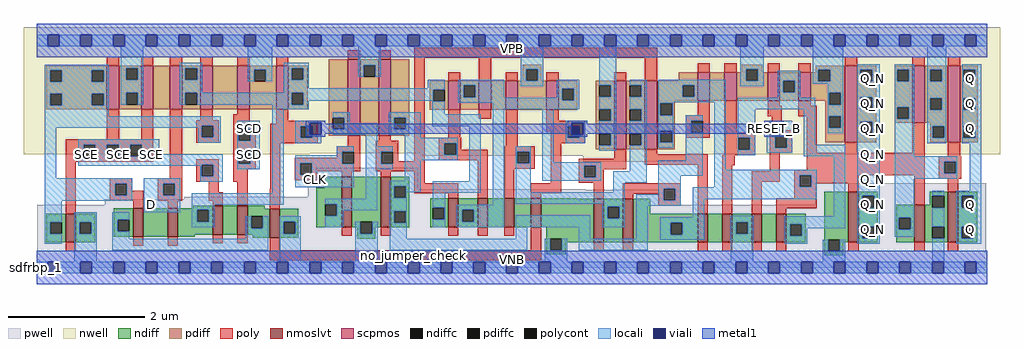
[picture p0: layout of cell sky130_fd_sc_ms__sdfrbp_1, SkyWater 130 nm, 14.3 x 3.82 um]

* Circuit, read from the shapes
.subckt sky130_fd_sc_ms__sdfrbp_1 CLK D RESET_B SCD SCE VGND VNB VPB VPWR Q Q_N
XM1 VGND SCE n1 VNB sky130_fd_pr__nfet_01v8_lvt w=0.42 l=0.15
XM2 n2 n1 n3 VNB sky130_fd_pr__nfet_01v8_lvt w=0.42 l=0.15
XM3 n4 D n2 VNB sky130_fd_pr__nfet_01v8_lvt w=0.42 l=0.15
XM4 n5 SCE n4 VNB sky130_fd_pr__nfet_01v8_lvt w=0.42 l=0.15
XM5 n3 SCD n5 VNB sky130_fd_pr__nfet_01v8_lvt w=0.42 l=0.15
XM6 VGND RESET_B n3 VNB sky130_fd_pr__nfet_01v8_lvt w=0.42 l=0.15
XM7 VGND CLK n6 VNB sky130_fd_pr__nfet_01v8_lvt w=0.74 l=0.15
XM8 n7 n6 VGND VNB sky130_fd_pr__nfet_01v8_lvt w=0.74 l=0.15
XM9 n8 n6 n4 VNB sky130_fd_pr__nfet_01v8_lvt w=0.42 l=0.15
XM10 n9 n7 n8 VNB sky130_fd_pr__nfet_01v8_lvt w=0.42 l=0.15
XM11 n10 n11 n9 VNB sky130_fd_pr__nfet_01v8_lvt w=0.42 l=0.15
XM12 VGND RESET_B n10 VNB sky130_fd_pr__nfet_01v8_lvt w=0.42 l=0.15
XM13 n11 n8 VGND VNB sky130_fd_pr__nfet_01v8_lvt w=0.64 l=0.15
XM14 n12 n7 n11 VNB sky130_fd_pr__nfet_01v8_lvt w=0.64 l=0.15
XM15 n13 n6 n12 VNB sky130_fd_pr__nfet_01v8_lvt w=0.42 l=0.15
XM16 VGND n14 n13 VNB sky130_fd_pr__nfet_01v8_lvt w=0.42 l=0.15
XM17 n15 RESET_B VGND VNB sky130_fd_pr__nfet_01v8_lvt w=0.42 l=0.15
XM18 n14 n12 n15 VNB sky130_fd_pr__nfet_01v8_lvt w=0.42 l=0.15
XM19 Q_N n12 VGND VNB sky130_fd_pr__nfet_01v8_lvt w=0.74 l=0.15
XM20 VGND n12 n16 VNB sky130_fd_pr__nfet_01v8_lvt w=0.55 l=0.15
XM21 Q n16 VGND VNB sky130_fd_pr__nfet_01v8_lvt w=0.74 l=0.15
XM22 VPWR SCE n1 VPB sky130_fd_pr__pfet_01v8 w=0.64 l=0.18
XM23 n17 SCE VPWR VPB sky130_fd_pr__pfet_01v8 w=0.64 l=0.18
XM24 n4 D n17 VPB sky130_fd_pr__pfet_01v8 w=0.64 l=0.18
XM25 n18 n1 n4 VPB sky130_fd_pr__pfet_01v8 w=0.64 l=0.18
XM26 VPWR SCD n18 VPB sky130_fd_pr__pfet_01v8 w=0.64 l=0.18
XM27 n4 RESET_B VPWR VPB sky130_fd_pr__pfet_01v8 w=0.64 l=0.18
XM28 VPWR CLK n6 VPB sky130_fd_pr__pfet_01v8 w=1.12 l=0.18
XM29 n7 n6 VPWR VPB sky130_fd_pr__pfet_01v8 w=1.12 l=0.18
XM30 n8 n7 n4 VPB sky130_fd_pr__pfet_01v8 w=0.42 l=0.18
XM31 n19 n6 n8 VPB sky130_fd_pr__pfet_01v8 w=0.42 l=0.18
XM32 VPWR n11 n19 VPB sky130_fd_pr__pfet_01v8 w=0.42 l=0.18
XM33 n8 RESET_B VPWR VPB sky130_fd_pr__pfet_01v8 w=0.42 l=0.18
XM34 n11 n8 VPWR VPB sky130_fd_pr__pfet_01v8 w=1 l=0.18
XM35 n12 n6 n11 VPB sky130_fd_pr__pfet_01v8 w=1 l=0.18
XM36 n20 n7 n12 VPB sky130_fd_pr__pfet_01v8 w=0.42 l=0.18
XM37 VPWR n14 n20 VPB sky130_fd_pr__pfet_01v8 w=0.42 l=0.18
XM38 n14 RESET_B VPWR VPB sky130_fd_pr__pfet_01v8 w=0.42 l=0.18
XM39 VPWR n12 n14 VPB sky130_fd_pr__pfet_01v8 w=0.42 l=0.18
XM40 Q_N n12 VPWR VPB sky130_fd_pr__pfet_01v8 w=1.12 l=0.18
XM41 VPWR n12 n16 VPB sky130_fd_pr__pfet_01v8 w=0.84 l=0.18
XM42 Q n16 VPWR VPB sky130_fd_pr__pfet_01v8 w=1.12 l=0.18
.ends

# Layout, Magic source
magic
tech sky130A
magscale 1 2
<< nwell >>
rect -38 335 2822 704
rect -38 332 800 335
rect 1129 332 2822 335
rect 1129 328 1903 332
rect 1601 311 1903 328
<< pwell >>
rect 817 260 1117 293
rect 793 229 1117 260
rect 793 228 1607 229
rect 793 207 1823 228
rect 432 200 1823 207
rect 199 184 1823 200
rect 2281 184 2782 248
rect 1 49 2782 184
rect 0 0 2784 49
<< scpmos >>
rect 205 464 241 592
rect 305 464 341 592
rect 389 464 425 592
rect 479 464 515 592
rect 587 464 623 592
rect 701 464 737 592
rect 911 387 947 611
rect 1001 387 1037 611
rect 1205 463 1241 547
rect 1295 463 1331 547
rect 1373 463 1409 547
rect 1493 463 1529 547
rect 1691 347 1727 547
rect 1781 347 1817 547
rect 1936 489 1972 573
rect 2014 489 2050 573
rect 2141 489 2177 573
rect 2231 489 2267 573
rect 2367 368 2403 592
rect 2565 424 2601 592
rect 2669 368 2705 592
<< nmoslvt >>
rect 84 74 114 158
rect 282 90 312 174
rect 383 90 413 174
rect 515 97 545 181
rect 587 97 617 181
rect 682 88 712 172
rect 893 119 923 267
rect 1007 119 1037 267
rect 1205 119 1235 203
rect 1291 119 1321 203
rect 1369 119 1399 203
rect 1447 119 1477 203
rect 1631 74 1661 202
rect 1717 74 1747 202
rect 1936 74 1966 158
rect 2008 74 2038 158
rect 2094 74 2124 158
rect 2166 74 2196 158
rect 2378 74 2408 222
rect 2571 74 2601 184
rect 2669 74 2699 222
<< ndiff >>
rect 843 234 893 267
rect 458 174 515 181
rect 27 133 84 158
rect 27 99 39 133
rect 73 99 84 133
rect 27 74 84 99
rect 114 133 171 158
rect 114 99 125 133
rect 159 99 171 133
rect 114 74 171 99
rect 225 141 282 174
rect 225 107 237 141
rect 271 107 282 141
rect 225 90 282 107
rect 312 90 383 174
rect 413 169 515 174
rect 413 135 470 169
rect 504 135 515 169
rect 413 97 515 135
rect 545 97 587 181
rect 617 172 667 181
rect 819 186 893 234
rect 617 150 682 172
rect 617 116 628 150
rect 662 116 682 150
rect 617 97 682 116
rect 413 90 463 97
rect 632 88 682 97
rect 712 134 765 172
rect 712 100 723 134
rect 757 100 765 134
rect 819 152 845 186
rect 879 152 893 186
rect 819 119 893 152
rect 923 134 1007 267
rect 923 119 948 134
rect 712 88 765 100
rect 938 100 948 119
rect 982 119 1007 134
rect 1037 239 1091 267
rect 1037 205 1047 239
rect 1081 205 1091 239
rect 1037 165 1091 205
rect 1037 131 1047 165
rect 1081 131 1091 165
rect 1037 119 1091 131
rect 1152 176 1205 203
rect 1152 142 1160 176
rect 1194 142 1205 176
rect 1152 119 1205 142
rect 1235 169 1291 203
rect 1235 135 1246 169
rect 1280 135 1291 169
rect 1235 119 1291 135
rect 1321 119 1369 203
rect 1399 119 1447 203
rect 1477 202 1581 203
rect 1477 119 1631 202
rect 982 100 992 119
rect 938 84 992 100
rect 1492 85 1631 119
rect 1492 51 1504 85
rect 1538 74 1631 85
rect 1661 179 1717 202
rect 1661 145 1672 179
rect 1706 145 1717 179
rect 1661 74 1717 145
rect 1747 158 1797 202
rect 1747 131 1936 158
rect 1747 97 1857 131
rect 1891 97 1936 131
rect 1747 74 1936 97
rect 1966 74 2008 158
rect 2038 133 2094 158
rect 2038 99 2049 133
rect 2083 99 2094 133
rect 2038 74 2094 99
rect 2124 74 2166 158
rect 2196 127 2253 158
rect 2196 93 2207 127
rect 2241 93 2253 127
rect 2196 74 2253 93
rect 2307 82 2378 222
rect 1538 51 1550 74
rect 1492 39 1550 51
rect 2307 48 2318 82
rect 2352 74 2378 82
rect 2408 210 2464 222
rect 2408 176 2419 210
rect 2453 176 2464 210
rect 2616 210 2669 222
rect 2616 184 2624 210
rect 2408 120 2464 176
rect 2408 86 2419 120
rect 2453 86 2464 120
rect 2408 74 2464 86
rect 2518 146 2571 184
rect 2518 112 2526 146
rect 2560 112 2571 146
rect 2518 74 2571 112
rect 2601 176 2624 184
rect 2658 176 2669 210
rect 2601 120 2669 176
rect 2601 86 2624 120
rect 2658 86 2669 120
rect 2601 74 2669 86
rect 2699 210 2756 222
rect 2699 176 2710 210
rect 2744 176 2756 210
rect 2699 120 2756 176
rect 2699 86 2710 120
rect 2744 86 2756 120
rect 2699 74 2756 86
rect 2352 48 2363 74
rect 2307 36 2363 48
<< pdiff >>
rect 27 579 205 592
rect 27 545 39 579
rect 73 545 161 579
rect 195 545 205 579
rect 27 510 205 545
rect 27 476 39 510
rect 73 476 161 510
rect 195 476 205 510
rect 27 464 205 476
rect 241 584 305 592
rect 241 550 261 584
rect 295 550 305 584
rect 241 512 305 550
rect 241 478 261 512
rect 295 478 305 512
rect 241 464 305 478
rect 341 464 389 592
rect 425 584 479 592
rect 425 550 435 584
rect 469 550 479 584
rect 425 512 479 550
rect 425 478 435 512
rect 469 478 479 512
rect 425 464 479 478
rect 515 464 587 592
rect 623 580 701 592
rect 623 546 636 580
rect 670 546 701 580
rect 623 464 701 546
rect 737 584 793 592
rect 737 550 747 584
rect 781 550 793 584
rect 737 512 793 550
rect 737 478 747 512
rect 781 478 793 512
rect 737 464 793 478
rect 855 439 911 611
rect 855 405 867 439
rect 901 405 911 439
rect 855 387 911 405
rect 947 593 1001 611
rect 947 559 957 593
rect 991 559 1001 593
rect 947 387 1001 559
rect 1037 439 1091 611
rect 1037 405 1047 439
rect 1081 405 1091 439
rect 1037 387 1091 405
rect 1424 582 1478 594
rect 1424 548 1434 582
rect 1468 548 1478 582
rect 1424 547 1478 548
rect 2065 582 2126 594
rect 2065 573 2078 582
rect 1880 547 1936 573
rect 1151 522 1205 547
rect 1151 488 1161 522
rect 1195 488 1205 522
rect 1151 463 1205 488
rect 1241 534 1295 547
rect 1241 500 1251 534
rect 1285 500 1295 534
rect 1241 463 1295 500
rect 1331 463 1373 547
rect 1409 463 1493 547
rect 1529 524 1583 547
rect 1529 490 1539 524
rect 1573 490 1583 524
rect 1529 463 1583 490
rect 1637 535 1691 547
rect 1637 501 1647 535
rect 1681 501 1691 535
rect 1637 464 1691 501
rect 1637 430 1647 464
rect 1681 430 1691 464
rect 1637 393 1691 430
rect 1637 359 1647 393
rect 1681 359 1691 393
rect 1637 347 1691 359
rect 1727 535 1781 547
rect 1727 501 1737 535
rect 1771 501 1781 535
rect 1727 464 1781 501
rect 1727 430 1737 464
rect 1771 430 1781 464
rect 1727 393 1781 430
rect 1727 359 1737 393
rect 1771 359 1781 393
rect 1727 347 1781 359
rect 1817 535 1936 547
rect 1817 501 1892 535
rect 1926 501 1936 535
rect 1817 489 1936 501
rect 1972 489 2014 573
rect 2050 548 2078 573
rect 2112 573 2126 582
rect 2282 580 2367 592
rect 2282 573 2290 580
rect 2112 548 2141 573
rect 2050 489 2141 548
rect 2177 548 2231 573
rect 2177 514 2187 548
rect 2221 514 2231 548
rect 2177 489 2231 514
rect 2267 546 2290 573
rect 2324 546 2367 580
rect 2267 512 2367 546
rect 2267 489 2322 512
rect 1817 481 1869 489
rect 1817 447 1827 481
rect 1861 447 1869 481
rect 1817 401 1869 447
rect 1817 367 1827 401
rect 1861 367 1869 401
rect 2310 478 2322 489
rect 2356 478 2367 512
rect 1817 347 1869 367
rect 2310 444 2367 478
rect 2310 410 2322 444
rect 2356 410 2367 444
rect 2310 368 2367 410
rect 2403 580 2459 592
rect 2403 546 2413 580
rect 2447 546 2459 580
rect 2403 500 2459 546
rect 2403 466 2413 500
rect 2447 466 2459 500
rect 2403 428 2459 466
rect 2403 394 2413 428
rect 2447 394 2459 428
rect 2513 580 2565 592
rect 2513 546 2521 580
rect 2555 546 2565 580
rect 2513 470 2565 546
rect 2513 436 2521 470
rect 2555 436 2565 470
rect 2513 424 2565 436
rect 2601 580 2669 592
rect 2601 546 2618 580
rect 2652 546 2669 580
rect 2601 497 2669 546
rect 2601 463 2618 497
rect 2652 463 2669 497
rect 2601 424 2669 463
rect 2403 368 2459 394
rect 2617 414 2669 424
rect 2617 380 2625 414
rect 2659 380 2669 414
rect 2617 368 2669 380
rect 2705 580 2757 592
rect 2705 546 2715 580
rect 2749 546 2757 580
rect 2705 497 2757 546
rect 2705 463 2715 497
rect 2749 463 2757 497
rect 2705 414 2757 463
rect 2705 380 2715 414
rect 2749 380 2757 414
rect 2705 368 2757 380
<< ndiffc >>
rect 39 99 73 133
rect 125 99 159 133
rect 237 107 271 141
rect 470 135 504 169
rect 628 116 662 150
rect 723 100 757 134
rect 845 152 879 186
rect 948 100 982 134
rect 1047 205 1081 239
rect 1047 131 1081 165
rect 1160 142 1194 176
rect 1246 135 1280 169
rect 1504 51 1538 85
rect 1672 145 1706 179
rect 1857 97 1891 131
rect 2049 99 2083 133
rect 2207 93 2241 127
rect 2318 48 2352 82
rect 2419 176 2453 210
rect 2419 86 2453 120
rect 2526 112 2560 146
rect 2624 176 2658 210
rect 2624 86 2658 120
rect 2710 176 2744 210
rect 2710 86 2744 120
<< pdiffc >>
rect 39 545 73 579
rect 161 545 195 579
rect 39 476 73 510
rect 161 476 195 510
rect 261 550 295 584
rect 261 478 295 512
rect 435 550 469 584
rect 435 478 469 512
rect 636 546 670 580
rect 747 550 781 584
rect 747 478 781 512
rect 867 405 901 439
rect 957 559 991 593
rect 1047 405 1081 439
rect 1434 548 1468 582
rect 1161 488 1195 522
rect 1251 500 1285 534
rect 1539 490 1573 524
rect 1647 501 1681 535
rect 1647 430 1681 464
rect 1647 359 1681 393
rect 1737 501 1771 535
rect 1737 430 1771 464
rect 1737 359 1771 393
rect 1892 501 1926 535
rect 2078 548 2112 582
rect 2187 514 2221 548
rect 2290 546 2324 580
rect 1827 447 1861 481
rect 1827 367 1861 401
rect 2322 478 2356 512
rect 2322 410 2356 444
rect 2413 546 2447 580
rect 2413 466 2447 500
rect 2413 394 2447 428
rect 2521 546 2555 580
rect 2521 436 2555 470
rect 2618 546 2652 580
rect 2618 463 2652 497
rect 2625 380 2659 414
rect 2715 546 2749 580
rect 2715 463 2749 497
rect 2715 380 2749 414
<< poly >>
rect 205 592 241 618
rect 305 592 341 618
rect 389 592 425 618
rect 479 592 515 618
rect 587 592 623 618
rect 701 592 737 618
rect 911 611 947 637
rect 1001 611 1037 637
rect 1106 615 1817 645
rect 205 376 241 464
rect 305 376 341 464
rect 84 360 341 376
rect 84 326 137 360
rect 171 326 205 360
rect 239 326 273 360
rect 307 326 341 360
rect 84 310 341 326
rect 84 158 114 310
rect 389 262 425 464
rect 479 432 515 464
rect 587 449 623 464
rect 467 416 533 432
rect 467 382 483 416
rect 517 382 533 416
rect 467 366 533 382
rect 575 422 623 449
rect 701 430 737 464
rect 701 422 823 430
rect 575 406 641 422
rect 575 372 591 406
rect 625 372 641 406
rect 575 338 641 372
rect 213 246 279 262
rect 213 212 229 246
rect 263 226 279 246
rect 354 246 425 262
rect 467 302 533 318
rect 467 268 483 302
rect 517 268 533 302
rect 467 252 533 268
rect 263 212 312 226
rect 213 196 312 212
rect 354 212 370 246
rect 404 212 425 246
rect 354 196 425 212
rect 503 221 533 252
rect 575 304 591 338
rect 625 304 641 338
rect 575 288 641 304
rect 683 414 823 422
rect 683 380 773 414
rect 807 380 823 414
rect 683 364 823 380
rect 575 251 617 288
rect 503 196 545 221
rect 282 174 312 196
rect 383 174 413 196
rect 515 181 545 196
rect 587 181 617 251
rect 683 229 713 364
rect 911 355 947 387
rect 1001 372 1037 387
rect 879 339 947 355
rect 879 322 895 339
rect 755 306 895 322
rect 755 272 771 306
rect 805 305 895 306
rect 929 305 947 339
rect 805 282 947 305
rect 993 339 1059 372
rect 993 305 1009 339
rect 1043 312 1059 339
rect 1106 312 1136 615
rect 1205 547 1241 573
rect 1295 547 1331 615
rect 1373 547 1409 573
rect 1493 547 1529 573
rect 1691 547 1727 573
rect 1781 547 1817 615
rect 1936 573 1972 599
rect 2014 573 2050 599
rect 1205 381 1241 463
rect 1295 437 1331 463
rect 1178 365 1244 381
rect 1178 331 1194 365
rect 1228 345 1244 365
rect 1373 356 1409 463
rect 1493 430 1529 463
rect 1493 414 1605 430
rect 1493 400 1555 414
rect 1506 380 1555 400
rect 1589 380 1605 414
rect 1506 364 1605 380
rect 1228 331 1321 345
rect 1178 315 1321 331
rect 1043 305 1136 312
rect 993 282 1136 305
rect 805 272 821 282
rect 755 256 821 272
rect 893 267 923 282
rect 1007 267 1037 282
rect 682 187 713 229
rect 682 172 712 187
rect 84 48 114 74
rect 282 64 312 90
rect 383 64 413 90
rect 515 71 545 97
rect 587 71 617 97
rect 893 93 923 119
rect 1106 248 1136 282
rect 1106 218 1235 248
rect 1205 203 1235 218
rect 1291 203 1321 315
rect 1369 340 1458 356
rect 1369 306 1408 340
rect 1442 306 1458 340
rect 1369 290 1458 306
rect 1369 203 1399 290
rect 1506 248 1536 364
rect 2141 573 2177 599
rect 2231 573 2267 599
rect 2367 592 2403 618
rect 2565 592 2601 618
rect 2669 592 2705 618
rect 1936 446 1972 489
rect 1901 430 1972 446
rect 1901 396 1917 430
rect 1951 396 1972 430
rect 1901 380 1972 396
rect 2014 396 2050 489
rect 2141 474 2177 489
rect 2231 474 2267 489
rect 2141 444 2183 474
rect 2231 444 2285 474
rect 2153 402 2183 444
rect 2014 380 2105 396
rect 1691 319 1727 347
rect 1588 299 1727 319
rect 1781 332 1817 347
rect 2014 346 2055 380
rect 2089 346 2105 380
rect 1781 302 1966 332
rect 2014 330 2105 346
rect 2147 386 2213 402
rect 2147 352 2163 386
rect 2197 352 2213 386
rect 2147 336 2213 352
rect 2255 337 2285 444
rect 2367 337 2403 368
rect 2565 337 2601 424
rect 1588 265 1604 299
rect 1638 289 1727 299
rect 1638 265 1661 289
rect 1588 249 1661 265
rect 1447 218 1536 248
rect 1447 203 1477 218
rect 1631 202 1661 249
rect 1717 231 1887 247
rect 1717 217 1837 231
rect 1717 202 1747 217
rect 682 51 712 88
rect 1007 93 1037 119
rect 1205 93 1235 119
rect 1291 93 1321 119
rect 1369 93 1399 119
rect 1447 51 1477 119
rect 682 21 1477 51
rect 1821 197 1837 217
rect 1871 197 1887 231
rect 1821 181 1887 197
rect 1936 158 1966 302
rect 2008 300 2044 330
rect 2008 158 2038 300
rect 2147 282 2177 336
rect 2255 287 2601 337
rect 2669 326 2705 368
rect 2094 252 2177 282
rect 2219 271 2601 287
rect 2094 158 2124 252
rect 2219 237 2235 271
rect 2269 247 2408 271
rect 2269 237 2285 247
rect 2219 204 2285 237
rect 2378 222 2408 247
rect 2166 174 2285 204
rect 2166 158 2196 174
rect 1631 48 1661 74
rect 1717 48 1747 74
rect 1936 48 1966 74
rect 2008 48 2038 74
rect 2094 48 2124 74
rect 2166 48 2196 74
rect 2571 184 2601 271
rect 2643 310 2709 326
rect 2643 276 2659 310
rect 2693 276 2709 310
rect 2643 260 2709 276
rect 2669 222 2699 260
rect 2378 48 2408 74
rect 2571 48 2601 74
rect 2669 48 2699 74
<< polycont >>
rect 137 326 171 360
rect 205 326 239 360
rect 273 326 307 360
rect 483 382 517 416
rect 591 372 625 406
rect 229 212 263 246
rect 483 268 517 302
rect 370 212 404 246
rect 591 304 625 338
rect 773 380 807 414
rect 771 272 805 306
rect 895 305 929 339
rect 1009 305 1043 339
rect 1194 331 1228 365
rect 1555 380 1589 414
rect 1408 306 1442 340
rect 1917 396 1951 430
rect 2055 346 2089 380
rect 2163 352 2197 386
rect 1604 265 1638 299
rect 1837 197 1871 231
rect 2235 237 2269 271
rect 2659 276 2693 310
<< locali >>
rect 0 649 31 683
rect 65 649 127 683
rect 161 649 223 683
rect 257 649 319 683
rect 353 649 415 683
rect 449 649 511 683
rect 545 649 607 683
rect 641 649 703 683
rect 737 649 799 683
rect 833 649 895 683
rect 929 649 991 683
rect 1025 649 1087 683
rect 1121 649 1183 683
rect 1217 649 1279 683
rect 1313 649 1375 683
rect 1409 649 1471 683
rect 1505 649 1567 683
rect 1601 649 1663 683
rect 1697 649 1759 683
rect 1793 649 1855 683
rect 1889 649 1951 683
rect 1985 649 2047 683
rect 2081 649 2143 683
rect 2177 649 2239 683
rect 2273 649 2335 683
rect 2369 649 2431 683
rect 2465 649 2527 683
rect 2561 649 2623 683
rect 2657 649 2719 683
rect 2753 649 2784 683
rect 23 579 211 595
rect 23 545 39 579
rect 73 545 161 579
rect 195 545 211 579
rect 23 510 211 545
rect 23 476 39 510
rect 73 476 161 510
rect 195 476 211 510
rect 245 584 311 649
rect 245 550 261 584
rect 295 550 311 584
rect 245 512 311 550
rect 245 478 261 512
rect 295 478 311 512
rect 419 584 485 600
rect 419 550 435 584
rect 469 550 485 584
rect 419 512 485 550
rect 617 580 689 649
rect 617 546 636 580
rect 670 546 689 580
rect 723 584 797 600
rect 723 550 747 584
rect 781 550 797 584
rect 941 593 1007 649
rect 941 559 957 593
rect 991 559 1007 593
rect 1418 582 1484 649
rect 723 525 797 550
rect 1145 525 1195 551
rect 723 522 1195 525
rect 723 512 1161 522
rect 419 478 435 512
rect 469 478 747 512
rect 781 489 1161 512
rect 781 478 797 489
rect 23 444 211 476
rect 689 464 797 478
rect 1158 488 1161 489
rect 23 416 539 444
rect 23 410 483 416
rect 23 262 57 410
rect 473 382 483 410
rect 517 382 539 416
rect 121 360 359 376
rect 473 366 539 382
rect 587 406 653 430
rect 587 372 591 406
rect 625 372 653 406
rect 121 326 137 360
rect 171 326 205 360
rect 239 326 273 360
rect 307 332 359 360
rect 587 338 653 372
rect 307 326 545 332
rect 121 302 545 326
rect 121 298 483 302
rect 479 268 483 298
rect 517 268 545 302
rect 587 304 591 338
rect 625 304 653 338
rect 587 288 653 304
rect 23 246 279 262
rect 23 212 229 246
rect 263 212 279 246
rect 23 196 279 212
rect 313 246 420 262
rect 479 252 545 268
rect 313 212 370 246
rect 404 212 420 246
rect 689 218 723 464
rect 867 439 917 455
rect 757 424 833 430
rect 757 414 799 424
rect 757 380 773 414
rect 807 380 833 390
rect 901 423 917 439
rect 1031 439 1124 455
rect 901 405 997 423
rect 867 389 997 405
rect 1031 405 1047 439
rect 1081 405 1124 439
rect 1158 449 1195 488
rect 1235 534 1369 551
rect 1235 500 1251 534
rect 1285 500 1369 534
rect 1418 548 1434 582
rect 1468 548 1484 582
rect 1418 532 1484 548
rect 1235 498 1369 500
rect 1523 524 1589 551
rect 1523 498 1539 524
rect 1235 490 1539 498
rect 1573 490 1589 524
rect 1235 483 1589 490
rect 1335 464 1589 483
rect 1647 535 1697 649
rect 2061 582 2130 649
rect 1681 501 1697 535
rect 1647 464 1697 501
rect 1158 415 1301 449
rect 1031 389 1124 405
rect 757 364 833 380
rect 963 355 997 389
rect 1077 381 1124 389
rect 1077 365 1233 381
rect 879 339 929 355
rect 879 330 895 339
rect 757 306 895 330
rect 757 272 771 306
rect 805 305 895 306
rect 805 272 929 305
rect 757 236 929 272
rect 963 339 1043 355
rect 963 305 1009 339
rect 963 289 1043 305
rect 1077 331 1194 365
rect 1228 331 1233 365
rect 1077 315 1233 331
rect 23 133 73 196
rect 313 162 420 212
rect 454 184 723 218
rect 963 202 997 289
rect 1077 255 1124 315
rect 845 186 997 202
rect 454 169 520 184
rect 23 99 39 133
rect 23 70 73 99
rect 109 133 175 162
rect 109 99 125 133
rect 159 99 175 133
rect 109 17 175 99
rect 221 141 271 162
rect 221 107 237 141
rect 454 135 470 169
rect 504 135 520 169
rect 879 168 997 186
rect 1034 239 1124 255
rect 1267 253 1301 415
rect 1034 205 1047 239
rect 1081 221 1124 239
rect 1081 205 1084 221
rect 879 152 898 168
rect 454 119 520 135
rect 221 85 271 107
rect 612 116 628 150
rect 662 116 678 150
rect 612 85 678 116
rect 221 51 678 85
rect 712 134 773 150
rect 712 100 723 134
rect 757 100 773 134
rect 845 119 898 152
rect 1034 165 1084 205
rect 712 17 773 100
rect 932 100 948 134
rect 982 100 998 134
rect 932 17 998 100
rect 1034 131 1047 165
rect 1081 131 1084 165
rect 1034 85 1084 131
rect 1160 219 1301 253
rect 1160 176 1196 219
rect 1335 185 1369 464
rect 1403 340 1447 356
rect 1403 306 1408 340
rect 1442 306 1447 340
rect 1403 221 1447 306
rect 1481 309 1515 464
rect 1681 430 1697 464
rect 1549 424 1607 430
rect 1549 414 1567 424
rect 1549 380 1555 414
rect 1601 390 1607 424
rect 1589 380 1607 390
rect 1549 364 1607 380
rect 1647 393 1697 430
rect 1681 359 1697 393
rect 1647 343 1697 359
rect 1737 535 1787 551
rect 1771 501 1787 535
rect 1737 464 1787 501
rect 1771 430 1787 464
rect 1737 393 1787 430
rect 1771 359 1787 393
rect 1481 299 1654 309
rect 1481 265 1604 299
rect 1638 265 1654 299
rect 1737 283 1787 359
rect 1821 535 2019 551
rect 1821 501 1892 535
rect 1926 501 2019 535
rect 2061 548 2078 582
rect 2112 548 2130 582
rect 2274 580 2363 649
rect 2061 532 2130 548
rect 2171 548 2237 577
rect 1821 485 2019 501
rect 2171 514 2187 548
rect 2221 514 2237 548
rect 2274 546 2290 580
rect 2324 546 2363 580
rect 2274 539 2363 546
rect 2171 498 2237 514
rect 2317 512 2363 539
rect 1821 481 1865 485
rect 1821 447 1827 481
rect 1861 447 1865 481
rect 1821 401 1865 447
rect 1821 367 1827 401
rect 1861 367 1865 401
rect 1821 351 1865 367
rect 1901 430 1951 446
rect 1901 396 1917 430
rect 1901 315 1951 396
rect 1481 255 1654 265
rect 1688 249 1787 283
rect 1821 269 1951 315
rect 1985 287 2019 485
rect 2053 464 2281 498
rect 2053 380 2105 464
rect 2053 346 2055 380
rect 2089 346 2105 380
rect 2053 330 2105 346
rect 2139 424 2213 430
rect 2139 390 2143 424
rect 2177 390 2213 424
rect 2139 386 2213 390
rect 2139 352 2163 386
rect 2197 352 2213 386
rect 2139 337 2213 352
rect 2247 360 2281 464
rect 2317 478 2322 512
rect 2356 478 2363 512
rect 2317 444 2363 478
rect 2317 410 2322 444
rect 2356 410 2363 444
rect 2317 394 2363 410
rect 2403 580 2469 596
rect 2403 546 2413 580
rect 2447 546 2469 580
rect 2403 500 2469 546
rect 2403 466 2413 500
rect 2447 466 2469 500
rect 2403 428 2469 466
rect 2403 394 2413 428
rect 2447 394 2469 428
rect 2247 326 2369 360
rect 1985 271 2285 287
rect 1688 221 1722 249
rect 1403 187 1722 221
rect 1821 231 1887 269
rect 1985 237 2235 271
rect 2269 237 2285 271
rect 1985 235 2285 237
rect 1821 215 1837 231
rect 1194 142 1196 176
rect 1160 119 1196 142
rect 1230 169 1369 185
rect 1230 135 1246 169
rect 1280 135 1369 169
rect 1656 179 1722 187
rect 1230 119 1369 135
rect 1403 119 1622 153
rect 1656 145 1672 179
rect 1706 145 1722 179
rect 1656 119 1722 145
rect 1756 197 1837 215
rect 1871 197 1887 231
rect 1756 181 1887 197
rect 1921 201 2285 235
rect 1403 85 1437 119
rect 1588 85 1622 119
rect 1756 85 1790 181
rect 1921 147 1955 201
rect 1034 51 1437 85
rect 1488 51 1504 85
rect 1538 51 1554 85
rect 1588 51 1790 85
rect 1827 131 1955 147
rect 1827 97 1857 131
rect 1891 97 1955 131
rect 1827 81 1955 97
rect 2033 133 2099 152
rect 2335 150 2369 326
rect 2033 99 2049 133
rect 2083 99 2099 133
rect 1488 17 1554 51
rect 2033 17 2099 99
rect 2191 127 2369 150
rect 2191 93 2207 127
rect 2241 116 2369 127
rect 2403 210 2469 394
rect 2403 176 2419 210
rect 2453 176 2469 210
rect 2403 120 2469 176
rect 2241 93 2257 116
rect 2191 70 2257 93
rect 2403 86 2419 120
rect 2453 86 2469 120
rect 2514 580 2571 596
rect 2514 546 2521 580
rect 2555 546 2571 580
rect 2514 470 2571 546
rect 2514 436 2521 470
rect 2555 436 2571 470
rect 2514 326 2571 436
rect 2609 580 2665 649
rect 2609 546 2618 580
rect 2652 546 2665 580
rect 2609 497 2665 546
rect 2609 463 2618 497
rect 2652 463 2665 497
rect 2609 414 2665 463
rect 2609 380 2625 414
rect 2659 380 2665 414
rect 2609 364 2665 380
rect 2711 580 2767 596
rect 2711 546 2715 580
rect 2749 546 2767 580
rect 2711 497 2767 546
rect 2711 463 2715 497
rect 2749 463 2767 497
rect 2711 414 2767 463
rect 2711 380 2715 414
rect 2749 380 2767 414
rect 2711 364 2767 380
rect 2514 310 2697 326
rect 2514 276 2659 310
rect 2693 276 2697 310
rect 2514 260 2697 276
rect 2514 146 2571 260
rect 2733 226 2767 364
rect 2514 112 2526 146
rect 2560 112 2571 146
rect 2514 91 2571 112
rect 2624 210 2658 226
rect 2624 120 2658 176
rect 2302 48 2318 82
rect 2352 48 2368 82
rect 2403 70 2469 86
rect 2302 17 2368 48
rect 2624 17 2658 86
rect 2694 210 2767 226
rect 2694 176 2710 210
rect 2744 176 2767 210
rect 2694 120 2767 176
rect 2694 86 2710 120
rect 2744 86 2767 120
rect 2694 70 2767 86
rect 0 -17 31 17
rect 65 -17 127 17
rect 161 -17 223 17
rect 257 -17 319 17
rect 353 -17 415 17
rect 449 -17 511 17
rect 545 -17 607 17
rect 641 -17 703 17
rect 737 -17 799 17
rect 833 -17 895 17
rect 929 -17 991 17
rect 1025 -17 1087 17
rect 1121 -17 1183 17
rect 1217 -17 1279 17
rect 1313 -17 1375 17
rect 1409 -17 1471 17
rect 1505 -17 1567 17
rect 1601 -17 1663 17
rect 1697 -17 1759 17
rect 1793 -17 1855 17
rect 1889 -17 1951 17
rect 1985 -17 2047 17
rect 2081 -17 2143 17
rect 2177 -17 2239 17
rect 2273 -17 2335 17
rect 2369 -17 2431 17
rect 2465 -17 2527 17
rect 2561 -17 2623 17
rect 2657 -17 2719 17
rect 2753 -17 2784 17
<< viali >>
rect 31 649 65 683
rect 127 649 161 683
rect 223 649 257 683
rect 319 649 353 683
rect 415 649 449 683
rect 511 649 545 683
rect 607 649 641 683
rect 703 649 737 683
rect 799 649 833 683
rect 895 649 929 683
rect 991 649 1025 683
rect 1087 649 1121 683
rect 1183 649 1217 683
rect 1279 649 1313 683
rect 1375 649 1409 683
rect 1471 649 1505 683
rect 1567 649 1601 683
rect 1663 649 1697 683
rect 1759 649 1793 683
rect 1855 649 1889 683
rect 1951 649 1985 683
rect 2047 649 2081 683
rect 2143 649 2177 683
rect 2239 649 2273 683
rect 2335 649 2369 683
rect 2431 649 2465 683
rect 2527 649 2561 683
rect 2623 649 2657 683
rect 2719 649 2753 683
rect 799 414 833 424
rect 799 390 807 414
rect 807 390 833 414
rect 1567 414 1601 424
rect 1567 390 1589 414
rect 1589 390 1601 414
rect 2143 390 2177 424
rect 31 -17 65 17
rect 127 -17 161 17
rect 223 -17 257 17
rect 319 -17 353 17
rect 415 -17 449 17
rect 511 -17 545 17
rect 607 -17 641 17
rect 703 -17 737 17
rect 799 -17 833 17
rect 895 -17 929 17
rect 991 -17 1025 17
rect 1087 -17 1121 17
rect 1183 -17 1217 17
rect 1279 -17 1313 17
rect 1375 -17 1409 17
rect 1471 -17 1505 17
rect 1567 -17 1601 17
rect 1663 -17 1697 17
rect 1759 -17 1793 17
rect 1855 -17 1889 17
rect 1951 -17 1985 17
rect 2047 -17 2081 17
rect 2143 -17 2177 17
rect 2239 -17 2273 17
rect 2335 -17 2369 17
rect 2431 -17 2465 17
rect 2527 -17 2561 17
rect 2623 -17 2657 17
rect 2719 -17 2753 17
<< metal1 >>
rect 0 683 2784 715
rect 0 649 31 683
rect 65 649 127 683
rect 161 649 223 683
rect 257 649 319 683
rect 353 649 415 683
rect 449 649 511 683
rect 545 649 607 683
rect 641 649 703 683
rect 737 649 799 683
rect 833 649 895 683
rect 929 649 991 683
rect 1025 649 1087 683
rect 1121 649 1183 683
rect 1217 649 1279 683
rect 1313 649 1375 683
rect 1409 649 1471 683
rect 1505 649 1567 683
rect 1601 649 1663 683
rect 1697 649 1759 683
rect 1793 649 1855 683
rect 1889 649 1951 683
rect 1985 649 2047 683
rect 2081 649 2143 683
rect 2177 649 2239 683
rect 2273 649 2335 683
rect 2369 649 2431 683
rect 2465 649 2527 683
rect 2561 649 2623 683
rect 2657 649 2719 683
rect 2753 649 2784 683
rect 0 617 2784 649
rect 787 424 845 430
rect 787 390 799 424
rect 833 421 845 424
rect 1555 424 1613 430
rect 1555 421 1567 424
rect 833 393 1567 421
rect 833 390 845 393
rect 787 384 845 390
rect 1555 390 1567 393
rect 1601 421 1613 424
rect 2131 424 2189 430
rect 2131 421 2143 424
rect 1601 393 2143 421
rect 1601 390 1613 393
rect 1555 384 1613 390
rect 2131 390 2143 393
rect 2177 390 2189 424
rect 2131 384 2189 390
rect 0 17 2784 49
rect 0 -17 31 17
rect 65 -17 127 17
rect 161 -17 223 17
rect 257 -17 319 17
rect 353 -17 415 17
rect 449 -17 511 17
rect 545 -17 607 17
rect 641 -17 703 17
rect 737 -17 799 17
rect 833 -17 895 17
rect 929 -17 991 17
rect 1025 -17 1087 17
rect 1121 -17 1183 17
rect 1217 -17 1279 17
rect 1313 -17 1375 17
rect 1409 -17 1471 17
rect 1505 -17 1567 17
rect 1601 -17 1663 17
rect 1697 -17 1759 17
rect 1793 -17 1855 17
rect 1889 -17 1951 17
rect 1985 -17 2047 17
rect 2081 -17 2143 17
rect 2177 -17 2239 17
rect 2273 -17 2335 17
rect 2369 -17 2431 17
rect 2465 -17 2527 17
rect 2561 -17 2623 17
rect 2657 -17 2719 17
rect 2753 -17 2784 17
rect 0 -49 2784 -17
<< labels >>
flabel pwell s 0 0 2784 49 0 FreeSans 200 0 0 0 VNB
port 7 nsew ground bidirectional
flabel nwell s 0 617 2784 666 0 FreeSans 200 0 0 0 VPB
port 8 nsew power bidirectional
rlabel comment s 0 0 0 0 4 sdfrbp_1
flabel comment s 1498 630 1498 630 0 FreeSans 300 0 0 0 no_jumper_check
flabel comment s 1102 36 1102 36 0 FreeSans 300 0 0 0 no_jumper_check
flabel metal1 s 2143 390 2177 424 0 FreeSans 340 0 0 0 RESET_B
port 3 nsew signal input
flabel metal1 s 0 617 2784 666 0 FreeSans 340 0 0 0 VPWR
port 9 nsew power bidirectional
flabel metal1 s 0 0 2784 49 0 FreeSans 340 0 0 0 VGND
port 6 nsew ground bidirectional
flabel locali s 2431 390 2465 424 0 FreeSans 340 0 0 0 Q_N
port 11 nsew signal output
flabel locali s 2431 464 2465 498 0 FreeSans 340 0 0 0 Q_N
port 11 nsew signal output
flabel locali s 2431 538 2465 572 0 FreeSans 340 0 0 0 Q_N
port 11 nsew signal output
flabel locali s 127 316 161 350 0 FreeSans 340 0 0 0 SCE
port 5 nsew signal input
flabel locali s 223 316 257 350 0 FreeSans 340 0 0 0 SCE
port 5 nsew signal input
flabel locali s 319 316 353 350 0 FreeSans 340 0 0 0 SCE
port 5 nsew signal input
flabel locali s 799 242 833 276 0 FreeSans 340 0 0 0 CLK
port 1 nsew clock input
flabel locali s 607 316 641 350 0 FreeSans 340 0 0 0 SCD
port 4 nsew signal input
flabel locali s 607 390 641 424 0 FreeSans 340 0 0 0 SCD
port 4 nsew signal input
flabel locali s 319 168 353 202 0 FreeSans 340 0 0 0 D
port 2 nsew signal input
flabel locali s 2719 168 2753 202 0 FreeSans 340 0 0 0 Q
port 10 nsew signal output
flabel locali s 2719 390 2753 424 0 FreeSans 340 0 0 0 Q
port 10 nsew signal output
flabel locali s 2719 464 2753 498 0 FreeSans 340 0 0 0 Q
port 10 nsew signal output
flabel locali s 2719 538 2753 572 0 FreeSans 340 0 0 0 Q
port 10 nsew signal output
flabel locali s 2719 94 2753 128 0 FreeSans 340 0 0 0 Q
port 10 nsew signal output
flabel locali s 2431 94 2465 128 0 FreeSans 340 0 0 0 Q_N
port 11 nsew signal output
flabel locali s 2431 168 2465 202 0 FreeSans 340 0 0 0 Q_N
port 11 nsew signal output
flabel locali s 2431 242 2465 276 0 FreeSans 340 0 0 0 Q_N
port 11 nsew signal output
flabel locali s 2431 316 2465 350 0 FreeSans 340 0 0 0 Q_N
port 11 nsew signal output
<< properties >>
string LEFsite unit
string LEFclass CORE
string FIXED_BBOX 0 0 2784 666
string GDS_FILE $PDKPATH/libs.ref/sky130_fd_sc_ms/gds/sky130_fd_sc_ms.gds
string LEFsymmetry X Y R90
string GDS_END 3447552
string GDS_START 3425698
<< end >>
